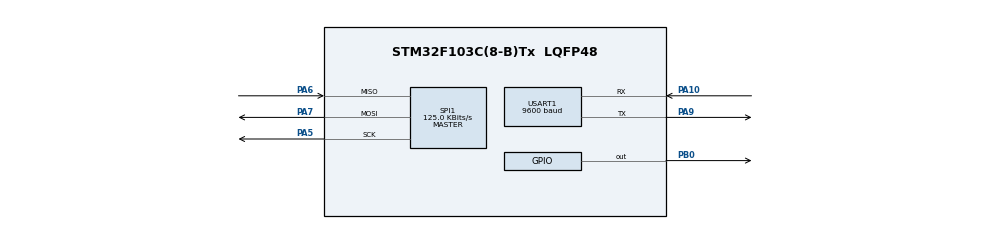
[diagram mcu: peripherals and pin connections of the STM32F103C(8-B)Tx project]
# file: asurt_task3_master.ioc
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Mcu.Family=STM32F1
Mcu.Name=STM32F103C(8-B)Tx
Mcu.Package=LQFP48
NVIC.PriorityGroup=NVIC_PRIORITYGROUP_4
PA10.Mode=Asynchronous
PA10.Signal=USART1_RX
PA13.Mode=Serial_Wire
PA13.Signal=SYS_JTMS-SWDIO
PA14.Mode=Serial_Wire
PA14.Signal=SYS_JTCK-SWCLK
PA5.Mode=Full_Duplex_Master
PA5.Signal=SPI1_SCK
PA6.Mode=Full_Duplex_Master
PA6.Signal=SPI1_MISO
PA7.Mode=Full_Duplex_Master
PA7.Signal=SPI1_MOSI
PA9.Mode=Asynchronous
PA9.Signal=USART1_TX
PB0.Signal=GPIO_Output
ProjectManager.HeapSize=0x200
ProjectManager.StackSize=0x400
ProjectManager.TargetToolchain=STM32CubeIDE
RCC.APB1Freq_Value=8000000
RCC.APB2Freq_Value=8000000
SPI1.BaudRatePrescaler=SPI_BAUDRATEPRESCALER_64
SPI1.CalculateBaudRate=125.0 KBits/s
SPI1.Direction=SPI_DIRECTION_2LINES
SPI1.Mode=SPI_MODE_MASTER
SPI1.VirtualType=VM_MASTER
USART1.BaudRate=9600
USART1.VirtualMode=VM_ASYNC
board=custom

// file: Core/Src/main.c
/* USER CODE BEGIN Header */
/**
  ******************************************************************************
  * @file           : main.c master
  * @brief          : Main program body
  ******************************************************************************
  * @attention
  *
  * Copyright (c) 2025 STMicroelectronics.
  * All rights reserved.
  *
  * This software is licensed under terms that can be found in the LICENSE file
  * in the root directory of this software component.
  * If no LICENSE file comes with this software, it is provided AS-IS.
  *
  ******************************************************************************
  */
/* USER CODE END Header */
#include "main.h"
#include <string.h>
#include <stdio.h>

SPI_HandleTypeDef hspi1;

UART_HandleTypeDef huart1;

void SystemClock_Config(void);
static void MX_GPIO_Init(void);
static void MX_SPI1_Init(void);
static void MX_USART1_UART_Init(void);

/* USER CODE BEGIN 0 */
	void getID(uint8_t * txbuffer){
		uint8_t ch;
		HAL_UART_Receive(&huart1,&ch ,1, 1);
		if ((ch-'0') <1 || (ch-'0') >5) ch = '0'; //default case id
		uint16_t case_id = (0x1000|(uint8_t)(ch - '0'));
		txbuffer[0] = (uint8_t)(case_id >> 8);
		txbuffer[1] = (uint8_t)(case_id & 0x00FF);
	}

	void displayData(uint8_t* rxbuffer){
		uint16_t caseID = ((uint16_t)rxbuffer[0] << 8) | (rxbuffer[1]); //first 16 bits for case id
		if ((uint8_t)caseID == 0 || (uint8_t)(caseID>>8) != 0x10) return;
		uint16_t engine_temp = ((uint16_t)rxbuffer[2] << 4) | (rxbuffer[3] >> 4); // 12 bits for engine temperature
		uint16_t throttle_pos = ((uint16_t)(rxbuffer[3] & 0x0F) << 4) | (rxbuffer[4] >> 4); // 8 bits for throttle position
		uint16_t voltage = ((uint16_t)rxbuffer[5] << 4) | rxbuffer[6]>>4; //12 bits for voltage
		uint16_t wheel_speed = ((uint16_t)(rxbuffer[6]& 0x0F) << 8) | (rxbuffer[7]);//12 bits for wheel speed
		char full_msg[100];

		int voltage_decimal = (voltage * 80/4095) % 10 +1;
		int scaled_throttle = throttle_pos*100/256 + 1;
		int scaled_engine_temp = engine_temp*150/4095 + 1 ;

		snprintf(full_msg,sizeof(full_msg) ,"Case ID: 0x%04X\r\nEngine Temp: %d C\r\nThrottle: %d %%\r\nVoltage: %d.%d V\r\nSpeed: %d km/h\r\n",
		          caseID, scaled_engine_temp/3, scaled_throttle, voltage * 8/4095,voltage_decimal, (int)(wheel_speed*300.0/4095+0.9));
		HAL_UART_Transmit(&huart1, (uint8_t*)full_msg, strlen(full_msg), 100);
	}

	/*
	void displayData(uint8_t * rxbuffer){
		char debug_msg[100];
		    snprintf(debug_msg, sizeof(debug_msg),
		             "Raw Data: %02X %02X %02X %02X %02X %02X %02X %02X\r\n",
		             rxbuffer[0], rxbuffer[1], rxbuffer[2], rxbuffer[3],
		             rxbuffer[4], rxbuffer[5], rxbuffer[6], rxbuffer[7]);
		    HAL_UART_Transmit(&huart1, (uint8_t*)debug_msg, strlen(debug_msg), 100);
	}*/

/* USER CODE END 0 */

int main(void)
{

  /* MCU Configuration--------------------------------------------------------*/

  /* Reset of all peripherals, Initializes the Flash interface and the Systick. */
  HAL_Init();

  /* Configure the system clock */
  SystemClock_Config();

  /* Initialize all configured peripherals */
  MX_GPIO_Init();
  MX_SPI1_Init();
  MX_USART1_UART_Init();
  /* USER CODE BEGIN 2 */
  HAL_GPIO_WritePin(GPIOB, GPIO_PIN_0, GPIO_PIN_SET);
  HAL_SPI_Init(&hspi1);

  uint8_t rxbuffer[8] = {0}; // to receive sensor data
  /*
   rx[0,1] = caseid
   rx[2,3,4] = temp + throttle
   rx[5,6,7] = voltage + speed
   */
  uint8_t txbuffer[8] = {0}; //to send number

  /* USER CODE END 2 */

  /* Infinite loop */
  /* USER CODE BEGIN WHILE */
  while (1)
  {
	  //for getting case id and forwarding to slave and receiving reply
	  getID(txbuffer);

	  for (int i=0; i<3;i++){
		  HAL_GPIO_WritePin(GPIOB, GPIO_PIN_0, GPIO_PIN_RESET); //for chip select
		  HAL_Delay(10);
		  HAL_SPI_TransmitReceive(&hspi1, txbuffer, rxbuffer, 8, HAL_MAX_DELAY);
		  HAL_GPIO_WritePin(GPIOB, GPIO_PIN_0, GPIO_PIN_SET);
		  if (i==0) {
			  txbuffer[0]=0x10;
			  txbuffer[1] = 0;
		  }
	  }
	  displayData(rxbuffer);
	  HAL_Delay(200);

    /* USER CODE END WHILE */

  }
}

void SystemClock_Config(void)
{
  RCC_OscInitTypeDef RCC_OscInitStruct = {0};
  RCC_ClkInitTypeDef RCC_ClkInitStruct = {0};

  /** Initializes the RCC Oscillators according to the specified parameters
  * in the RCC_OscInitTypeDef structure.
  */
  RCC_OscInitStruct.OscillatorType = RCC_OSCILLATORTYPE_HSI;
  RCC_OscInitStruct.HSIState = RCC_HSI_ON;
  RCC_OscInitStruct.HSICalibrationValue = RCC_HSICALIBRATION_DEFAULT;
  RCC_OscInitStruct.PLL.PLLState = RCC_PLL_NONE;
  if (HAL_RCC_OscConfig(&RCC_OscInitStruct) != HAL_OK)
  {
    Error_Handler();
  }

  /** Initializes the CPU, AHB and APB buses clocks
  */
  RCC_ClkInitStruct.ClockType = RCC_CLOCKTYPE_HCLK|RCC_CLOCKTYPE_SYSCLK
                              |RCC_CLOCKTYPE_PCLK1|RCC_CLOCKTYPE_PCLK2;
  RCC_ClkInitStruct.SYSCLKSource = RCC_SYSCLKSOURCE_HSI;
  RCC_ClkInitStruct.AHBCLKDivider = RCC_SYSCLK_DIV1;
  RCC_ClkInitStruct.APB1CLKDivider = RCC_HCLK_DIV1;
  RCC_ClkInitStruct.APB2CLKDivider = RCC_HCLK_DIV1;

  if (HAL_RCC_ClockConfig(&RCC_ClkInitStruct, FLASH_LATENCY_0) != HAL_OK)
  {
    Error_Handler();
  }
}

static void MX_SPI1_Init(void)
{

  /* SPI1 parameter configuration*/
  hspi1.Instance = SPI1;
  hspi1.Init.Mode = SPI_MODE_MASTER;
  hspi1.Init.Direction = SPI_DIRECTION_2LINES;
  hspi1.Init.DataSize = SPI_DATASIZE_8BIT;
  hspi1.Init.CLKPolarity = SPI_POLARITY_LOW;
  hspi1.Init.CLKPhase = SPI_PHASE_1EDGE;
  hspi1.Init.NSS = SPI_NSS_SOFT;
  hspi1.Init.BaudRatePrescaler = SPI_BAUDRATEPRESCALER_64;
  hspi1.Init.FirstBit = SPI_FIRSTBIT_MSB;
  hspi1.Init.TIMode = SPI_TIMODE_DISABLE;
  hspi1.Init.CRCCalculation = SPI_CRCCALCULATION_DISABLE;
  hspi1.Init.CRCPolynomial = 10;
  if (HAL_SPI_Init(&hspi1) != HAL_OK)
  {
    Error_Handler();
  }

}

static void MX_USART1_UART_Init(void)
{

  huart1.Instance = USART1;
  huart1.Init.BaudRate = 9600;
  huart1.Init.WordLength = UART_WORDLENGTH_8B;
  huart1.Init.StopBits = UART_STOPBITS_1;
  huart1.Init.Parity = UART_PARITY_NONE;
  huart1.Init.Mode = UART_MODE_TX_RX;
  huart1.Init.HwFlowCtl = UART_HWCONTROL_NONE;
  huart1.Init.OverSampling = UART_OVERSAMPLING_16;
  if (HAL_UART_Init(&huart1) != HAL_OK)
  {
    Error_Handler();
  }

}

static void MX_GPIO_Init(void)
{
  GPIO_InitTypeDef GPIO_InitStruct = {0};

  /* GPIO Ports Clock Enable */
  __HAL_RCC_GPIOA_CLK_ENABLE();
  __HAL_RCC_GPIOB_CLK_ENABLE();

  /*Configure GPIO pin Output Level */
  HAL_GPIO_WritePin(GPIOB, GPIO_PIN_0, GPIO_PIN_RESET);

  /*Configure GPIO pin : PB0 */
  GPIO_InitStruct.Pin = GPIO_PIN_0;
  GPIO_InitStruct.Mode = GPIO_MODE_OUTPUT_PP;
  GPIO_InitStruct.Pull = GPIO_NOPULL;
  GPIO_InitStruct.Speed = GPIO_SPEED_FREQ_LOW;
  HAL_GPIO_Init(GPIOB, &GPIO_InitStruct);

}

void Error_Handler(void)
{
  __disable_irq();
  while (1)
  {
  }
}
